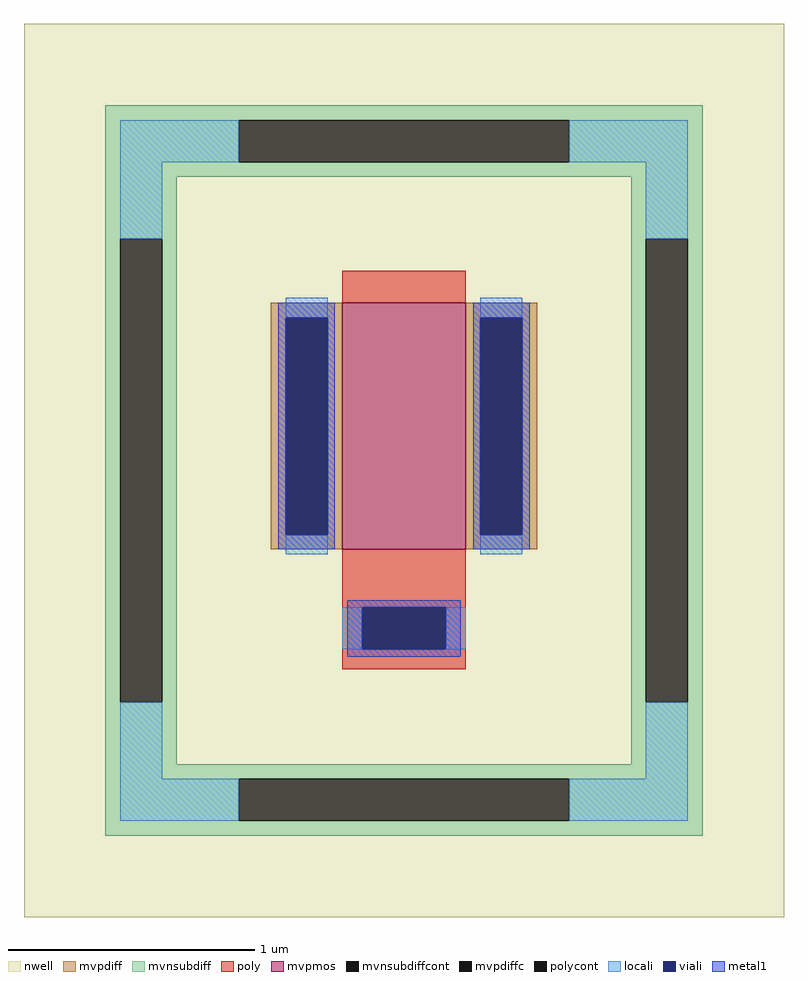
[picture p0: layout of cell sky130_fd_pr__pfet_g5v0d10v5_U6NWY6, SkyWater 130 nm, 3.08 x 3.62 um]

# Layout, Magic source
magic
tech sky130A
magscale 1 2
<< nwell >>
rect -308 -362 308 362
<< mvpmos >>
rect -50 -64 50 136
<< mvpdiff >>
rect -108 124 -50 136
rect -108 -52 -96 124
rect -62 -52 -50 124
rect -108 -64 -50 -52
rect 50 124 108 136
rect 50 -52 62 124
rect 96 -52 108 124
rect 50 -64 108 -52
<< mvpdiffc >>
rect -96 -52 -62 124
rect 62 -52 96 124
<< mvnsubdiff >>
rect -242 284 242 296
rect -242 250 -134 284
rect 134 250 242 284
rect -242 238 242 250
rect -242 188 -184 238
rect -242 -188 -230 188
rect -196 -188 -184 188
rect 184 188 242 238
rect -242 -238 -184 -188
rect 184 -188 196 188
rect 230 -188 242 188
rect 184 -238 242 -188
rect -242 -250 242 -238
rect -242 -284 -134 -250
rect 134 -284 242 -250
rect -242 -296 242 -284
<< mvnsubdiffcont >>
rect -134 250 134 284
rect -230 -188 -196 188
rect 196 -188 230 188
rect -134 -284 134 -250
<< poly >>
rect -50 136 50 162
rect -50 -111 50 -64
rect -50 -145 -34 -111
rect 34 -145 50 -111
rect -50 -161 50 -145
<< polycont >>
rect -34 -145 34 -111
<< locali >>
rect -230 250 -134 284
rect 134 250 230 284
rect -230 188 -196 250
rect 196 188 230 250
rect -96 124 -62 140
rect -96 -68 -62 -52
rect 62 124 96 140
rect 62 -68 96 -52
rect -50 -145 -34 -111
rect 34 -145 50 -111
rect -230 -250 -196 -188
rect 196 -250 230 -188
rect -230 -284 -134 -250
rect 134 -284 230 -250
<< viali >>
rect -96 -52 -62 124
rect 62 -52 96 124
rect -34 -145 34 -111
<< metal1 >>
rect -102 124 -56 136
rect -102 -52 -96 124
rect -62 -52 -56 124
rect -102 -64 -56 -52
rect 56 124 102 136
rect 56 -52 62 124
rect 96 -52 102 124
rect 56 -64 102 -52
rect -46 -111 46 -105
rect -46 -145 -34 -111
rect 34 -145 46 -111
rect -46 -151 46 -145
<< properties >>
string FIXED_BBOX -213 -267 213 267
string gencell sky130_fd_pr__pfet_g5v0d10v5
string library sky130
string parameters w 1.0 l 0.5 m 1 nf 1 diffcov 100 polycov 100 guard 1 glc 1 grc 1 gtc 1 gbc 1 tbcov 100 rlcov 100 topc 0 botc 1 poverlap 0 doverlap 1 lmin 0.50 wmin 0.42 compatible {sky130_fd_pr__pfet_01v8  sky130_fd_pr__pfet_01v8_lvt sky130_fd_pr__pfet_01v8_hvt  sky130_fd_pr__pfet_g5v0d10v5} full_metal 1 viasrc 100 viadrn 100 viagate 100 viagb 0 viagr 0 viagl 0 viagt 0
<< end >>
